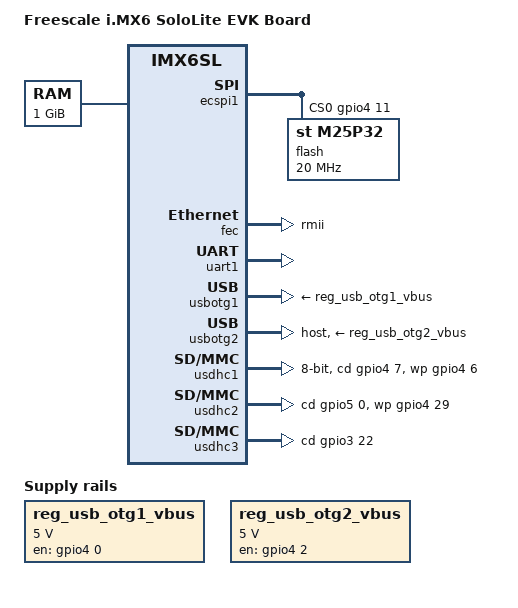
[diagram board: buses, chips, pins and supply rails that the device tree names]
/*
 * Copyright (C) 2013 Freescale Semiconductor, Inc.
 *
 * This program is free software; you can redistribute it and/or modify
 * it under the terms of the GNU General Public License version 2 as
 * published by the Free Software Foundation.
 */

/dts-v1/;

#include "imx6sl.dtsi"

/ {
	model = "Freescale i.MX6 SoloLite EVK Board";
	compatible = "fsl,imx6sl-evk", "fsl,imx6sl";

	memory {
		reg = <0x80000000 0x40000000>;
	};

	regulators {
		compatible = "simple-bus";
		#address-cells = <1>;
		#size-cells = <0>;

		reg_usb_otg1_vbus: regulator@0 {
			compatible = "regulator-fixed";
			reg = <0>;
			regulator-name = "usb_otg1_vbus";
			regulator-min-microvolt = <5000000>;
			regulator-max-microvolt = <5000000>;
			gpio = <&gpio4 0 0>;
			enable-active-high;
		};

		reg_usb_otg2_vbus: regulator@1 {
			compatible = "regulator-fixed";
			reg = <1>;
			regulator-name = "usb_otg2_vbus";
			regulator-min-microvolt = <5000000>;
			regulator-max-microvolt = <5000000>;
			gpio = <&gpio4 2 0>;
			enable-active-high;
		};
	};
};

&ecspi1 {
	fsl,spi-num-chipselects = <1>;
	cs-gpios = <&gpio4 11 0>;
	pinctrl-names = "default";
	pinctrl-0 = <&pinctrl_ecspi1>;
	status = "okay";

	flash: m25p80@0 {
		#address-cells = <1>;
		#size-cells = <1>;
		compatible = "st,m25p32";
		spi-max-frequency = <20000000>;
		reg = <0>;
	};
};

&fec {
	pinctrl-names = "default";
	pinctrl-0 = <&pinctrl_fec>;
	phy-mode = "rmii";
	status = "okay";
};

&iomuxc {
	pinctrl-names = "default";
	pinctrl-0 = <&pinctrl_hog>;

	imx6sl-evk {
		pinctrl_hog: hoggrp {
			fsl,pins = <
				MX6SL_PAD_KEY_ROW7__GPIO4_IO07    0x17059
				MX6SL_PAD_KEY_COL7__GPIO4_IO06    0x17059
				MX6SL_PAD_SD2_DAT7__GPIO5_IO00    0x17059
				MX6SL_PAD_SD2_DAT6__GPIO4_IO29    0x17059
				MX6SL_PAD_REF_CLK_32K__GPIO3_IO22 0x17059
				MX6SL_PAD_KEY_COL4__GPIO4_IO00	0x80000000
				MX6SL_PAD_KEY_COL5__GPIO4_IO02	0x80000000
			>;
		};

		pinctrl_ecspi1: ecspi1grp {
			fsl,pins = <MX6SL_ECSPI1_PINGRP1>;
		};

		pinctrl_fec: fecgrp {
			fsl,pins = <MX6SL_FEC_PINGRP1>;
		};

		pinctrl_uart1: uart1grp {
			fsl,pins = <MX6SL_UART1_PINGRP1>;
		};

		pinctrl_usbotg1: usbotg1grp {
			fsl,pins = <MX6SL_USBOTG1_PINGRP1>;
		};

		pinctrl_usdhc1: usdhc1grp {
			fsl,pins = <MX6SL_USDHC1_PINGRP1>;
		};

		pinctrl_usdhc1_100mhz: usdhc1grp100mhz {
			fsl,pins = <MX6SL_USDHC1_PINGRP1_100MHZ>;
		};

		pinctrl_usdhc1_200mhz: usdhc1grp200mhz {
			fsl,pins = <MX6SL_USDHC1_PINGRP1_200MHZ>;
		};

		pinctrl_usdhc2: usdhc2grp {
			fsl,pins = <MX6SL_USDHC2_PINGRP1>;
		};

		pinctrl_usdhc2_100mhz: usdhc2grp100mhz {
			fsl,pins = <MX6SL_USDHC2_PINGRP1_100MHZ>;
		};

		pinctrl_usdhc2_200mhz: usdhc2grp200mhz {
			fsl,pins = <MX6SL_USDHC2_PINGRP1_200MHZ>;
		};

		pinctrl_usdhc3: usdhc3grp {
			fsl,pins = <MX6SL_USDHC3_PINGRP1>;
		};

		pinctrl_usdhc3_100mhz: usdhc3grp100mhz {
			fsl,pins = <MX6SL_USDHC3_PINGRP1_100MHZ>;
		};

		pinctrl_usdhc3_200mhz: usdhc3grp200mhz {
			fsl,pins = <MX6SL_USDHC3_PINGRP1_200MHZ>;
		};
	};
};

&uart1 {
	pinctrl-names = "default";
	pinctrl-0 = <&pinctrl_uart1>;
	status = "okay";
};

&usbotg1 {
	vbus-supply = <&reg_usb_otg1_vbus>;
	pinctrl-names = "default";
	pinctrl-0 = <&pinctrl_usbotg1>;
	disable-over-current;
	status = "okay";
};

&usbotg2 {
	vbus-supply = <&reg_usb_otg2_vbus>;
	dr_mode = "host";
	disable-over-current;
	status = "okay";
};

&usdhc1 {
	pinctrl-names = "default", "state_100mhz", "state_200mhz";
	pinctrl-0 = <&pinctrl_usdhc1>;
	pinctrl-1 = <&pinctrl_usdhc1_100mhz>;
	pinctrl-2 = <&pinctrl_usdhc1_200mhz>;
	bus-width = <8>;
	cd-gpios = <&gpio4 7 0>;
	wp-gpios = <&gpio4 6 0>;
	status = "okay";
};

&usdhc2 {
	pinctrl-names = "default", "state_100mhz", "state_200mhz";
	pinctrl-0 = <&pinctrl_usdhc2>;
	pinctrl-1 = <&pinctrl_usdhc2_100mhz>;
	pinctrl-2 = <&pinctrl_usdhc2_200mhz>;
	cd-gpios = <&gpio5 0 0>;
	wp-gpios = <&gpio4 29 0>;
	status = "okay";
};

&usdhc3 {
	pinctrl-names = "default", "state_100mhz", "state_200mhz";
	pinctrl-0 = <&pinctrl_usdhc3>;
	pinctrl-1 = <&pinctrl_usdhc3_100mhz>;
	pinctrl-2 = <&pinctrl_usdhc3_200mhz>;
	cd-gpios = <&gpio3 22 0>;
	status = "okay";
};
